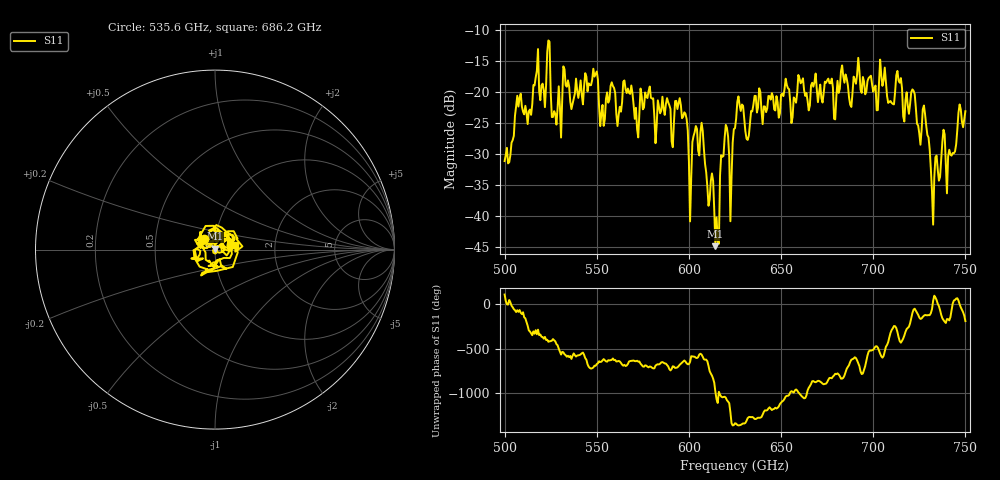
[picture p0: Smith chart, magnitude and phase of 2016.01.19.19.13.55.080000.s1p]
!Created with skrf (http://scikit-rf.org).
# GHz S RI R 50.0
!freq ReS11 ImS11
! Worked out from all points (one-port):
!   401 points, 500 GHz to 750 GHz, reference 50 ohm
!   lowest |S11| = -44.8 dB at 614.4 GHz (marker M1), VSWR 1.01, Z = 50 + j0.575 ohm
!   |S11| at or under -10 dB: start of sweep to end of sweep
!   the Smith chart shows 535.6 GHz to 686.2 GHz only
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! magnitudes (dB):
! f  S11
! 500 GHz  -31.1
! 516.9 GHz  -17.6
! 520.6 GHz  -18.7
! 523.8 GHz  -11.7
! 526.9 GHz  -23.1
! 531.2 GHz  -21.3
! 549.4 GHz  -17.1
! 553.1 GHz  -22.1
! 558.8 GHz  -19.0
! 562.5 GHz  -22.4
! 565.6 GHz  -19.5
! 593.8 GHz  -22.7
! 598.1 GHz  -23.5
! 600.6 GHz  -40.8
! 607.5 GHz  -26.3
! 614.4 GHz  -44.8
! 615.6 GHz  -44.0
! 618.8 GHz  -30.3
! 623.1 GHz  -33.6
! 625 GHz  -25.8
! 656.2 GHz  -24.0
! 660.6 GHz  -18.6
! 687.5 GHz  -22.0
! 705 GHz  -19.0
! 718.8 GHz  -22.2
! 728.1 GHz  -23.6
! 732.5 GHz  -41.3
! 750 GHz  -23.1
